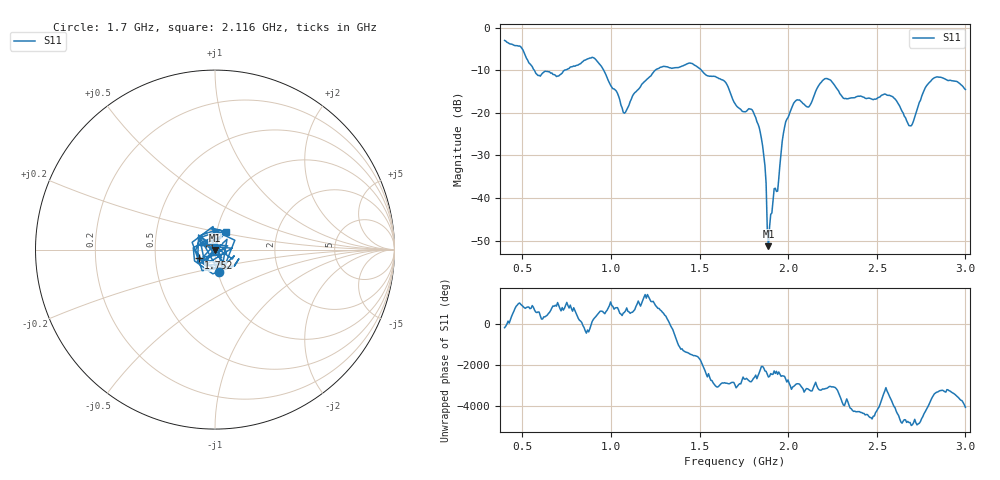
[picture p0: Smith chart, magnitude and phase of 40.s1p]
!Created with skrf (http://scikit-rf.org).
# Hz S RI R 50.0
!freq ReS11 ImS11
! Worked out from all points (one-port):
!   401 points, 400 MHz to 3 GHz, reference 50 ohm
!   lowest |S11| = -51.3 dB at 1.889 GHz (marker M1), VSWR 1.01, Z = 50.2 - j0.214 ohm
!   |S11| at or under -10 dB: 568.1 MHz to 737 MHz (168.9 MHz wide, 25.9 % of centre); 959.5 MHz to 1.249 GHz (289.9 MHz wide, 26.2 % of centre); 1.511 GHz to end of sweep
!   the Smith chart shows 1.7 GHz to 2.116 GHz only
!   S11 on the Smith chart (normalised r, x): 1.7 GHz: 1.01, -0.26; 1.752 GHz: 0.83, -0.08; 2.116 GHz: 1.11, +0.22
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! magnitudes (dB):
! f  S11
! 400 MHz  -3.0
! 491 MHz  -4.5
! 588.5 MHz  -11.2
! 725 MHz  -10.7
! 900.5 MHz  -7.0
! 1.05 GHz  -17.0
! 1.083 GHz  -19.8
! 1.252 GHz  -9.9
! 1.375 GHz  -9.4
! 1.453 GHz  -8.4
! 1.629 GHz  -12.2
! 1.7 GHz  -17.8
! 1.752 GHz  -19.7
! 1.798 GHz  -19.3
! 1.843 GHz  -24.7
! 1.863 GHz  -30.0
! 1.889 GHz  -51.3
! 1.895 GHz  -46.8
! 1.94 GHz  -38.4
! 1.98 GHz  -23.4
! 2.025 GHz  -18.3
! 2.116 GHz  -18.6
! 2.213 GHz  -11.9
! 2.35 GHz  -16.5
! 2.578 GHz  -16.0
! 2.675 GHz  -22.4
! 2.825 GHz  -11.8
! 3 GHz  -14.5
